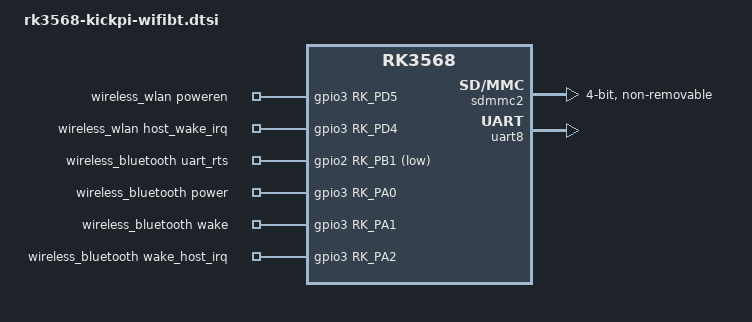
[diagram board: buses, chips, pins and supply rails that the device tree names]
/ {

	sdio_pwrseq: sdio-pwrseq {
		compatible = "mmc-pwrseq-simple";
		clocks = <&rk809 1>;
		clock-names = "ext_clock";
		pinctrl-names = "default";
		pinctrl-0 = <&wifi_enable_h>;

		/*
		 * On the module itself this is one of these (depending
		 * on the actual card populated):
		 * - SDIO_RESET_L_WL_REG_ON
		 * - PDN (power down when low)
		 */
		post-power-on-delay-ms = <200>;
	};

	wireless_wlan: wireless-wlan {
		compatible = "wlan-platdata";
		rockchip,grf = <&grf>;
		wifi_chip_type = "rtl8822cs";
		WIFI,poweren_gpio = <&gpio3 RK_PD5 GPIO_ACTIVE_HIGH>;
		pinctrl-names = "default";
		pinctrl-0 = <&wifi_host_wake_irq>;
		WIFI,host_wake_irq = <&gpio3 RK_PD4 GPIO_ACTIVE_HIGH>;
		status = "okay";
	};

	wireless_bluetooth: wireless-bluetooth {
		compatible = "bluetooth-platdata";
		clocks = <&rk809 1>;
		clock-names = "ext_clock";
		uart_rts_gpios = <&gpio2 RK_PB1 GPIO_ACTIVE_LOW>;
		pinctrl-names = "default", "rts_gpio";
		pinctrl-0 = <&uart8m0_rtsn>;
		pinctrl-1 = <&uart8_gpios>;
		BT,power_gpio    = <&gpio3 RK_PA0 GPIO_ACTIVE_HIGH>;
		BT,wake_gpio     = <&gpio3 RK_PA1 GPIO_ACTIVE_HIGH>;
		BT,wake_host_irq = <&gpio3 RK_PA2 GPIO_ACTIVE_HIGH>;
		status = "okay";
	};
};
	
&sdmmc2 {
	max-frequency = <150000000>;
	no-sd;
	no-mmc;
	bus-width = <4>;
	disable-wp;
	cap-sd-highspeed;
	cap-sdio-irq;
	keep-power-in-suspend;
	mmc-pwrseq = <&sdio_pwrseq>;
	non-removable;
	pinctrl-names = "default";
	pinctrl-0 = <&sdmmc2m0_bus4 &sdmmc2m0_cmd &sdmmc2m0_clk>;
	sd-uhs-sdr104;
	status = "okay";
};


&uart8 {
	status = "okay";
	pinctrl-names = "default";
	pinctrl-0 = <&uart8m0_xfer &uart8m0_ctsn>;
};

&pinctrl {
	wireless-bluetooth {
		uart8_gpios: uart8-gpios {
			rockchip,pins = <2 RK_PB1 RK_FUNC_GPIO &pcfg_pull_none>;
		};
	};
	
	sdio-pwrseq {
		wifi_enable_h: wifi-enable-h {
			rockchip,pins = <3 RK_PD5 RK_FUNC_GPIO &pcfg_pull_up>;
		};
	};

	wireless-wlan {
		wifi_host_wake_irq: wifi-host-wake-irq {
			rockchip,pins = <3 RK_PD4 RK_FUNC_GPIO &pcfg_pull_down>;
		};
	};
	
};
